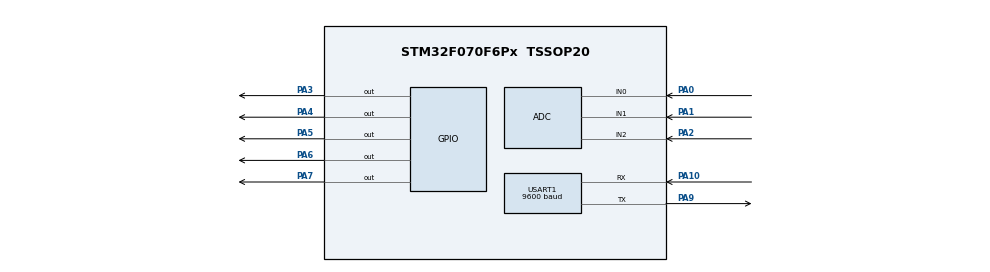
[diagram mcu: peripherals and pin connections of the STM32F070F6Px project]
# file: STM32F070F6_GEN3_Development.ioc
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ADC.ContinuousConvMode=ENABLE
ADC.EOCSelection=ADC_EOC_SINGLE_CONV
ADC.SamplingTime=ADC_SAMPLETIME_239CYCLES_5
Mcu.Family=STM32F0
Mcu.Name=STM32F070F6Px
Mcu.Package=TSSOP20
PA0.Mode=IN0
PA0.Signal=ADC_IN0
PA1.Mode=IN1
PA1.Signal=ADC_IN1
PA10.Mode=Asynchronous
PA10.Signal=USART1_RX
PA13.Mode=Serial_Wire
PA13.Signal=SYS_SWDIO
PA14.Mode=Serial_Wire
PA14.Signal=SYS_SWCLK
PA2.Mode=IN2
PA2.Signal=ADC_IN2
PA3.Signal=GPIO_Output
PA4.Signal=GPIO_Output
PA5.GPIO_ModeDefaultOutputPP=GPIO_MODE_OUTPUT_PP
PA5.GPIO_PuPd=GPIO_NOPULL
PA5.GPIO_Speed=GPIO_SPEED_FREQ_LOW
PA5.PinState=GPIO_PIN_RESET
PA5.Signal=GPIO_Output
PA6.Signal=GPIO_Output
PA7.Signal=GPIO_Output
PA9.Mode=Asynchronous
PA9.Signal=USART1_TX
ProjectManager.HeapSize=0x200
ProjectManager.StackSize=0x400
ProjectManager.TargetToolchain=STM32CubeIDE
RCC.AHBCLKDivider=RCC_SYSCLK_DIV4
RCC.AHBFreq_Value=2000000
RCC.APB1Freq_Value=2000000
RCC.APB1TimFreq_Value=2000000
RCC.HCLKFreq_Value=2000000
USART1.BaudRate=9600
USART1.VirtualMode=VM_ASYNC
board=custom

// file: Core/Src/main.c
/* USER CODE BEGIN Header */
/**
  ******************************************************************************
  * @file           : main.c
  * @brief          : Main program body
  ******************************************************************************
  * @attention
  *
  * <h2><center>&copy; Copyright (c) 2021 STMicroelectronics.
  * All rights reserved.</center></h2>
  *
  * This software component is licensed by ST under BSD 3-Clause license,
  * the "License"; You may not use this file except in compliance with the
  * License. You may obtain a copy of the License at:
  *                        opensource.org/licenses/BSD-3-Clause
  *
  ******************************************************************************
  */
/* USER CODE END Header */

#include "main.h"

/* USER CODE BEGIN Includes */
#include <string.h>
#include <stdio.h>
/* USER CODE END Includes */

ADC_HandleTypeDef hadc;

UART_HandleTypeDef huart1;

/* USER CODE BEGIN PV */

uint32_t WET_NTC_raw;
uint32_t DRY_NTC_raw;
uint32_t PV_REF_raw;
float PV_REF;
uint32_t PV_Voltage;

/* USER CODE END PV */

void SystemClock_Config(void);
static void MX_GPIO_Init(void);
static void MX_ADC_Init(void);
static void MX_USART1_UART_Init(void);

/* USER CODE BEGIN 0 */

// Function to Read ADC Values for ADC_IN1, ADC_IN2, ADC_IN3
void Read_ADC_Values (ADC_HandleTypeDef* hadc)
{

  //start of actual code
  HAL_ADCEx_Calibration_Start(hadc);
  HAL_ADC_Start(hadc);

  // Get Dry NTC resistance _!!! Might not need these 3 Poll for conversions!! Check with a UART print
  HAL_ADC_PollForConversion(hadc, HAL_MAX_DELAY);
  WET_NTC_raw = HAL_ADC_GetValue(hadc);

  // Get Wet NTC resistance
  HAL_ADC_PollForConversion(hadc, HAL_MAX_DELAY);
  DRY_NTC_raw = HAL_ADC_GetValue(hadc);

  // Get VPV_SENSE voltage
  HAL_ADC_PollForConversion(hadc, HAL_MAX_DELAY);
  PV_REF_raw = HAL_ADC_GetValue(hadc);
  PV_REF = PV_REF_raw  * (28.08/4096); // Convert RAW ADC to voltage

  HAL_ADC_Stop(hadc);
  return;
}

/* Function to set PV Voltage Indicator LED
void Check_PV_Status (PV_Voltage){
	if (PV_Voltage > 17){
		HAL_GPIO_WritePin(GPIOA, GPIO_PIN_7, GPIO_PIN_SET);
	}
	else if ((PV_Voltage <= 15) && (PV_Volatge <=17)){
		// Do Nothing. Hysteresis for PV Voltage to stop LED flicker.
	}
	else{
		HAL_GPIO_WritePin(GPIOA, GPIO_PIN_7, GPIO_PIN_RESET);
	}
} */

/* USER CODE END 0 */

int main(void)
{
  /* USER CODE BEGIN 1 */
  char uart_buf[50];
  int uart_buf_len;
  /* USER CODE END 1 */

  /* MCU Configuration--------------------------------------------------------*/

  /* Reset of all peripherals, Initializes the Flash interface and the Systick. */
  HAL_Init();

  /* Configure the system clock */
  SystemClock_Config();

  /* Initialize all configured peripherals */
  MX_GPIO_Init();
  MX_ADC_Init();
  MX_USART1_UART_Init();
  /* USER CODE BEGIN 2 */
  HAL_GPIO_WritePin(GPIOA, GPIO_PIN_5, GPIO_PIN_RESET); // Set BLDC enable pin low

  // UART TRansmit Test
  uart_buf_len = sprintf(uart_buf, "UART Test\r\n");
  HAL_UART_Transmit(&huart1, (uint8_t *)uart_buf, uart_buf_len, 100);

  /* USER CODE END 2 */

  /* Infinite loop */
  /* USER CODE BEGIN WHILE */
  while (1)
  {
	uart_buf_len = sprintf(uart_buf, "UART Test 2\r\n");
	HAL_UART_Transmit(&huart1, (uint8_t *)uart_buf, uart_buf_len, 100);

	Read_ADC_Values(&hadc);

	uart_buf_len = sprintf(uart_buf, "\r\n", WET_NTC_raw);
    HAL_UART_Transmit(&huart1, (uint8_t *)uart_buf, uart_buf_len, 100);

	//Read_ADC_Values(&hadc);
    /* USER CODE END WHILE */

    /* USER CODE BEGIN 3 */

    HAL_Delay(100);

    if (PV_REF > 16){
    	HAL_GPIO_WritePin(GPIOA, GPIO_PIN_7, GPIO_PIN_SET);
    }
    else if (PV_REF <= 16  &&  PV_REF >= 14){
    	;
    }
    else {
    	HAL_GPIO_WritePin(GPIOA, GPIO_PIN_7, GPIO_PIN_RESET);
    }

    if (WET_NTC_raw > 3500){
    	HAL_GPIO_WritePin(GPIOA, GPIO_PIN_5, GPIO_PIN_SET);
    }
    else if (WET_NTC_raw <= 3500  &&  WET_NTC_raw >= 3000){
    	;
    }
    else if(WET_NTC_raw < 3000){
    	HAL_GPIO_WritePin(GPIOA, GPIO_PIN_5, GPIO_PIN_RESET);
    }

  }

  /* USER CODE END 3 */
}

void SystemClock_Config(void)
{
  RCC_OscInitTypeDef RCC_OscInitStruct = {0};
  RCC_ClkInitTypeDef RCC_ClkInitStruct = {0};
  RCC_PeriphCLKInitTypeDef PeriphClkInit = {0};

  /** Initializes the CPU, AHB and APB busses clocks
  */
  RCC_OscInitStruct.OscillatorType = RCC_OSCILLATORTYPE_HSI|RCC_OSCILLATORTYPE_HSI14;
  RCC_OscInitStruct.HSIState = RCC_HSI_ON;
  RCC_OscInitStruct.HSI14State = RCC_HSI14_ON;
  RCC_OscInitStruct.HSICalibrationValue = RCC_HSICALIBRATION_DEFAULT;
  RCC_OscInitStruct.HSI14CalibrationValue = 16;
  RCC_OscInitStruct.PLL.PLLState = RCC_PLL_NONE;
  if (HAL_RCC_OscConfig(&RCC_OscInitStruct) != HAL_OK)
  {
    Error_Handler();
  }
  /** Initializes the CPU, AHB and APB busses clocks
  */
  RCC_ClkInitStruct.ClockType = RCC_CLOCKTYPE_HCLK|RCC_CLOCKTYPE_SYSCLK
                              |RCC_CLOCKTYPE_PCLK1;
  RCC_ClkInitStruct.SYSCLKSource = RCC_SYSCLKSOURCE_HSI;
  RCC_ClkInitStruct.AHBCLKDivider = RCC_SYSCLK_DIV4;
  RCC_ClkInitStruct.APB1CLKDivider = RCC_HCLK_DIV1;

  if (HAL_RCC_ClockConfig(&RCC_ClkInitStruct, FLASH_LATENCY_0) != HAL_OK)
  {
    Error_Handler();
  }
  PeriphClkInit.PeriphClockSelection = RCC_PERIPHCLK_USART1;
  PeriphClkInit.Usart1ClockSelection = RCC_USART1CLKSOURCE_PCLK1;
  if (HAL_RCCEx_PeriphCLKConfig(&PeriphClkInit) != HAL_OK)
  {
    Error_Handler();
  }
}

static void MX_ADC_Init(void)
{

  ADC_ChannelConfTypeDef sConfig = {0};

  /** Configure the global features of the ADC (Clock, Resolution, Data Alignment and number of conversion)
  */
  hadc.Instance = ADC1;
  hadc.Init.ClockPrescaler = ADC_CLOCK_ASYNC_DIV1;
  hadc.Init.Resolution = ADC_RESOLUTION_12B;
  hadc.Init.DataAlign = ADC_DATAALIGN_RIGHT;
  hadc.Init.ScanConvMode = ADC_SCAN_DIRECTION_FORWARD;
  hadc.Init.EOCSelection = ADC_EOC_SINGLE_CONV;
  hadc.Init.LowPowerAutoWait = DISABLE;
  hadc.Init.LowPowerAutoPowerOff = DISABLE;
  hadc.Init.ContinuousConvMode = ENABLE;
  hadc.Init.DiscontinuousConvMode = DISABLE;
  hadc.Init.ExternalTrigConv = ADC_SOFTWARE_START;
  hadc.Init.ExternalTrigConvEdge = ADC_EXTERNALTRIGCONVEDGE_NONE;
  hadc.Init.DMAContinuousRequests = DISABLE;
  hadc.Init.Overrun = ADC_OVR_DATA_PRESERVED;
  if (HAL_ADC_Init(&hadc) != HAL_OK)
  {
    Error_Handler();
  }
  /** Configure for the selected ADC regular channel to be converted.
  */
  sConfig.Channel = ADC_CHANNEL_0;
  sConfig.Rank = ADC_RANK_CHANNEL_NUMBER;
  sConfig.SamplingTime = ADC_SAMPLETIME_239CYCLES_5;
  if (HAL_ADC_ConfigChannel(&hadc, &sConfig) != HAL_OK)
  {
    Error_Handler();
  }
  /** Configure for the selected ADC regular channel to be converted.
  */
  sConfig.Channel = ADC_CHANNEL_1;
  if (HAL_ADC_ConfigChannel(&hadc, &sConfig) != HAL_OK)
  {
    Error_Handler();
  }
  /** Configure for the selected ADC regular channel to be converted.
  */
  sConfig.Channel = ADC_CHANNEL_2;
  if (HAL_ADC_ConfigChannel(&hadc, &sConfig) != HAL_OK)
  {
    Error_Handler();
  }

}

static void MX_USART1_UART_Init(void)
{

  huart1.Instance = USART1;
  huart1.Init.BaudRate = 9600;
  huart1.Init.WordLength = UART_WORDLENGTH_8B;
  huart1.Init.StopBits = UART_STOPBITS_1;
  huart1.Init.Parity = UART_PARITY_NONE;
  huart1.Init.Mode = UART_MODE_TX_RX;
  huart1.Init.HwFlowCtl = UART_HWCONTROL_NONE;
  huart1.Init.OverSampling = UART_OVERSAMPLING_16;
  huart1.Init.OneBitSampling = UART_ONE_BIT_SAMPLE_DISABLE;
  huart1.AdvancedInit.AdvFeatureInit = UART_ADVFEATURE_NO_INIT;
  if (HAL_UART_Init(&huart1) != HAL_OK)
  {
    Error_Handler();
  }

}

static void MX_GPIO_Init(void)
{
  GPIO_InitTypeDef GPIO_InitStruct = {0};

  /* GPIO Ports Clock Enable */
  __HAL_RCC_GPIOA_CLK_ENABLE();

  /*Configure GPIO pin Output Level */
  HAL_GPIO_WritePin(GPIOA, GPIO_PIN_3|GPIO_PIN_4|GPIO_PIN_5|GPIO_PIN_6
                          |GPIO_PIN_7, GPIO_PIN_RESET);

  /*Configure GPIO pins : PA3 PA4 PA5 PA6
                           PA7 */
  GPIO_InitStruct.Pin = GPIO_PIN_3|GPIO_PIN_4|GPIO_PIN_5|GPIO_PIN_6
                          |GPIO_PIN_7;
  GPIO_InitStruct.Mode = GPIO_MODE_OUTPUT_PP;
  GPIO_InitStruct.Pull = GPIO_NOPULL;
  GPIO_InitStruct.Speed = GPIO_SPEED_FREQ_LOW;
  HAL_GPIO_Init(GPIOA, &GPIO_InitStruct);

}

void Error_Handler(void)
{
}

/************************ (C) COPYRIGHT STMicroelectronics *****END OF FILE****/
